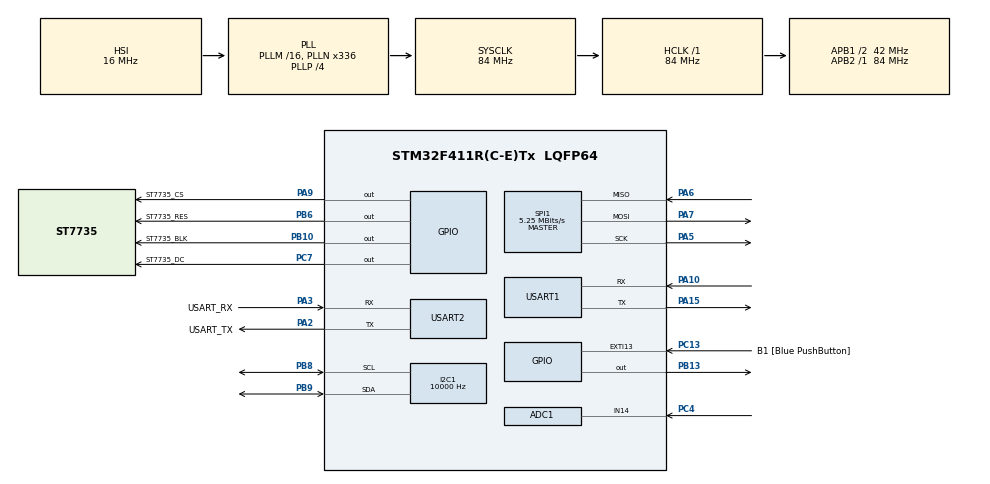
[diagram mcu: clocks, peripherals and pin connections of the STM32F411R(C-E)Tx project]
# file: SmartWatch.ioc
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ADC1.Channel-0\#ChannelRegularConversion=ADC_CHANNEL_14
ADC1.NbrOfConversion=1
ADC1.NbrOfConversionFlag=1
ADC1.Rank-0\#ChannelRegularConversion=1
ADC1.SamplingTime-0\#ChannelRegularConversion=ADC_SAMPLETIME_3CYCLES
ADC1.master=1
Dma.Request0=SPI1_TX
Dma.SPI1_TX.0.Direction=DMA_MEMORY_TO_PERIPH
Dma.SPI1_TX.0.FIFOMode=DMA_FIFOMODE_DISABLE
Dma.SPI1_TX.0.Instance=DMA2_Stream2
Dma.SPI1_TX.0.MemDataAlignment=DMA_MDATAALIGN_BYTE
Dma.SPI1_TX.0.MemInc=DMA_MINC_ENABLE
Dma.SPI1_TX.0.Mode=DMA_NORMAL
Dma.SPI1_TX.0.PeriphDataAlignment=DMA_PDATAALIGN_BYTE
Dma.SPI1_TX.0.PeriphInc=DMA_PINC_DISABLE
Dma.SPI1_TX.0.Priority=DMA_PRIORITY_LOW
I2C1.ClockSpeed=10000
Mcu.Family=STM32F4
Mcu.Name=STM32F411R(C-E)Tx
Mcu.Package=LQFP64
NVIC.DMA2_Stream2_IRQn=true\:0\:0\:false\:false\:true\:false\:true\:true
NVIC.PriorityGroup=NVIC_PRIORITYGROUP_0
NVIC.USART1_IRQn=true\:0\:0\:false\:false\:true\:true\:true\:true
NVIC.USART2_IRQn=true\:0\:0\:false\:false\:true\:true\:true\:true
PA10.Mode=Asynchronous
PA10.Signal=USART1_RX
PA15.Mode=Asynchronous
PA15.Signal=USART1_TX
PA2.GPIO_Label=USART_TX
PA2.Mode=Asynchronous
PA2.Signal=USART2_TX
PA3.GPIO_Label=USART_RX
PA3.Mode=Asynchronous
PA3.Signal=USART2_RX
PA5.Mode=Full_Duplex_Master
PA5.Signal=SPI1_SCK
PA6.Mode=Full_Duplex_Master
PA6.Signal=SPI1_MISO
PA7.Mode=Full_Duplex_Master
PA7.Signal=SPI1_MOSI
PA9.GPIO_Label=ST7735_CS
PA9.Signal=GPIO_Output
PB10.GPIO_Label=ST7735_BLK
PB10.Signal=GPIO_Output
PB13.Signal=GPIO_Output
PB6.GPIO_Label=ST7735_RES
PB6.Signal=GPIO_Output
PB8.Mode=I2C
PB8.Signal=I2C1_SCL
PB9.Mode=I2C
PB9.Signal=I2C1_SDA
PC13-ANTI_TAMP.GPIO_Label=B1 [Blue PushButton]
PC13-ANTI_TAMP.GPIO_ModeDefaultEXTI=GPIO_MODE_IT_FALLING
PC13-ANTI_TAMP.Signal=GPXTI13
PC14-OSC32_IN.Mode=LSE-External-Oscillator
PC14-OSC32_IN.Signal=RCC_OSC32_IN
PC15-OSC32_OUT.Mode=LSE-External-Oscillator
PC15-OSC32_OUT.Signal=RCC_OSC32_OUT
PC4.Signal=ADCx_IN14
PC7.GPIO_Label=ST7735_DC
PC7.Signal=GPIO_Output
PH0\ -\ OSC_IN.Mode=HSE-External-Clock-Source
PH0\ -\ OSC_IN.Signal=RCC_OSC_IN
PH1\ -\ OSC_OUT.Mode=HSE-External-Clock-Source
PH1\ -\ OSC_OUT.Signal=RCC_OSC_OUT
ProjectManager.HeapSize=0x200
ProjectManager.StackSize=0x400
ProjectManager.TargetToolchain=STM32CubeIDE
RCC.48MHZClocksFreq_Value=84000000
RCC.AHBFreq_Value=84000000
RCC.APB1CLKDivider=RCC_HCLK_DIV2
RCC.APB1Freq_Value=42000000
RCC.APB1TimFreq_Value=84000000
RCC.APB2Freq_Value=84000000
RCC.APB2TimFreq_Value=84000000
RCC.CortexFreq_Value=84000000
RCC.FLatency-AdvancedSettings=FLASH_LATENCY_2
RCC.HCLKFreq_Value=84000000
RCC.HSE_VALUE=8000000
RCC.HSI_VALUE=16000000
RCC.PLLN=336
RCC.PLLP=RCC_PLLP_DIV4
RCC.SYSCLKFreq_VALUE=84000000
RCC.SYSCLKSource=RCC_SYSCLKSOURCE_PLLCLK
RCC.VCOOutputFreq_Value=336000000
SH.ADCx_IN14.0=ADC1_IN14,IN14
SPI1.BaudRatePrescaler=SPI_BAUDRATEPRESCALER_16
SPI1.CalculateBaudRate=5.25 MBits/s
SPI1.Direction=SPI_DIRECTION_2LINES
SPI1.Mode=SPI_MODE_MASTER
SPI1.VirtualType=VM_MASTER
USART1.VirtualMode=VM_ASYNC
USART2.VirtualMode=VM_ASYNC
board=NUCLEO-F411RE

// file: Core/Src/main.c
/* USER CODE BEGIN Header */
/**
  ******************************************************************************
  * @file           : main.c
  * @brief          : Main program body
  ******************************************************************************
  * @attention
  *
  * Copyright (c) 2024 STMicroelectronics.
  * All rights reserved.
  *
  * This software is licensed under terms that can be found in the LICENSE file
  * in the root directory of this software component.
  * If no LICENSE file comes with this software, it is provided AS-IS.
  *
  ******************************************************************************
  */
/* USER CODE END Header */
#include "main.h"

/* USER CODE BEGIN Includes */
#include "CircularBuffer.h"
#include "st7735.h"
#include "lsm6d3s.h"
#include "dial.h"
#include "PulseData.h"
#include <stdio.h>

/* USER CODE END Includes */

ADC_HandleTypeDef hadc1;

I2C_HandleTypeDef hi2c1;

SPI_HandleTypeDef hspi1;
DMA_HandleTypeDef hdma_spi1_tx;

UART_HandleTypeDef huart1;
UART_HandleTypeDef huart2;

/* USER CODE BEGIN PV */

uint32_t time_on_start;
int pulse = 0;
uint32_t pulse_falling_edge_time;
uint32_t between_pulse_interval;
uint32_t pulse_rising_edge_time;
uint32_t pulse_interval;

uint8_t tmp_char = 'a';
uint8_t tmp_char2 = 'a';

char pc_tx_buff[100] = "";
size_t pc_tx_buff_size = 0;

char esp01_tx_buff[100] = "";
size_t esp01_tx_buff_size = 0;

CircularBuffer esp01_rx_cb;

char user_buff[100] = "";
size_t user_buff_size = 0;

int pcIsSent = 1;
int esp01IsSent = 1;
int pcDataReady = 0;
int esp01DataReady = 0;
/* USER CODE END PV */

void SystemClock_Config(void);
static void MX_GPIO_Init(void);
static void MX_DMA_Init(void);
static void MX_SPI1_Init(void);
static void MX_USART2_UART_Init(void);
static void MX_ADC1_Init(void);
static void MX_USART1_UART_Init(void);
static void MX_I2C1_Init(void);

int main(void)
{

  /* MCU Configuration--------------------------------------------------------*/

  /* Reset of all peripherals, Initializes the Flash interface and the Systick. */
  HAL_Init();

  /* Configure the system clock */
  SystemClock_Config();

  /* Initialize all configured peripherals */
  MX_GPIO_Init();
  MX_DMA_Init();
  MX_SPI1_Init();
  MX_USART2_UART_Init();
  MX_ADC1_Init();
  MX_USART1_UART_Init();
  MX_I2C1_Init();
  /* USER CODE BEGIN 2 */
  //HAL_TIM_PWM_Start(&htim2, TIM_CHANNEL_3);
  /* USER CODE END 2 */

  /* Infinite loop */
  /* USER CODE BEGIN WHILE */

  circ_buffer_init(&esp01_rx_cb);
  ST7735_Init();
  LSM6DS3_Init();
  ST7735_SetRotation(ST7735_LANDSCAPE);
  ST7735_Backlight_On();
  ST7735_FillScreen(ST7735_BLACK);

  uint32_t time = 14 * 3600 + 42 * 60 + 0;
  time_on_start = HAL_GetTick();
  //drawClockDial(time);

  //ST7735_DrawString(ST7735_GetWidth() / 2 - Font_16x26.width / 2 * 5, ST7735_GetHeight() / 2 - Font_16x26.height / 2, "13:42", Font_16x26, ST7735_WHITE, ST7735_BLACK);

  HAL_UART_Receive_IT(&huart2, &tmp_char, 1);
  HAL_UART_Receive_IT(&huart1, &tmp_char2, 1);

  while (1)
  {
	  /*redrawClockHands(time);
	  time++;
	  HAL_Delay(1000 - 63);*/

	  if(pcIsSent == 1 && pcDataReady == 1){
		  pcIsSent = 0;
		  pcDataReady = 0;
		  char str[80];
		  int size = sprintf(str, "\r>>%s ", pc_tx_buff);
		  //HAL_UART_Transmit_IT(&huart2, str, size);
		  ST7735_DrawString(0, 0, str, Font_7x10, ST7735_WHITE, ST7735_BLACK);
	  }
	  if(esp01IsSent == 1 && esp01DataReady == 1){
	  	  	esp01IsSent = 0;
	  	  	esp01DataReady = 0;
	  	  	char str[80];
	  	  	int size = sprintf(str, "%s\r\n", esp01_tx_buff);
	  	  	HAL_UART_Transmit_IT(&huart1, str, size);

	  }
	  char letter[3] = {'X', 'Y', 'Z'};
	  uint16_t color[3] = {ST7735_RED, ST7735_BLUE, ST7735_GREEN};
	  int16_t raw[3];
	  float xyz[3];
	  char str[10];
	  LSM6DS3_AccGetXYZ(xyz);
	  LSM6DS3_AccGetRawXYZ(raw);
	  for (int i = 0; i < 3; ++i) {
		  sprintf(str, "%c: %.3f", letter[i], xyz[i]);
		  ST7735_DrawString(5, 20 + i * Font_11x18.height + i, str, Font_11x18, color[i], ST7735_BLACK);
	  }
	  HAL_UART_Transmit(&huart2, (uint8_t *)raw, 3 * 2, HAL_MAX_DELAY);

	  /*HAL_ADC_Start(&hadc1);
	  HAL_ADC_PollForConversion(&hadc1, HAL_MAX_DELAY);
	  int raw = HAL_ADC_GetValue(&hadc1);
	  drawPulseGraphDot(raw);*/

	  /*char buf[5] = "";
	  sprintf(buf, "%du", raw);
	  ST7735_DrawString(ST7735_GetWidth() / 2 - Font_16x26.width / 2 * 5, ST7735_GetHeight() / 2 - Font_16x26.height / 2,
			  buf, Font_16x26, ST7735_WHITE, ST7735_BLACK);
	  //HAL_Delay(10);*/
	  /*if(raw > 2090){
		  if(pulse == 0){
			  between_pulse_interval = HAL_GetTick() - pulse_falling_edge_time;
			  pulse_rising_edge_time = HAL_GetTick();
		  }

		  pulse = 1;
		  drawHeart();
	  }else{
		  if(pulse == 1){
			  pulse_interval = HAL_GetTick() - pulse_rising_edge_time;
			  pulse_falling_edge_time = HAL_GetTick();
		  }

		  pulse = 0;
		  ST7735_FillRectangle(130, 10, 20, 20, ST7735_BLACK);
	  }

	  if(HAL_GetTick() - time_on_start > 1000)
	  	drawBPM(60000 / ((pulse_interval + between_pulse_interval)));
	  else
	  	drawBPM(255);

	  HAL_Delay(10);*/

    /* USER CODE END WHILE */

  }
}

void SystemClock_Config(void)
{
  RCC_OscInitTypeDef RCC_OscInitStruct = {0};
  RCC_ClkInitTypeDef RCC_ClkInitStruct = {0};

  /** Configure the main internal regulator output voltage
  */
  __HAL_RCC_PWR_CLK_ENABLE();
  __HAL_PWR_VOLTAGESCALING_CONFIG(PWR_REGULATOR_VOLTAGE_SCALE1);

  /** Initializes the RCC Oscillators according to the specified parameters
  * in the RCC_OscInitTypeDef structure.
  */
  RCC_OscInitStruct.OscillatorType = RCC_OSCILLATORTYPE_HSI;
  RCC_OscInitStruct.HSIState = RCC_HSI_ON;
  RCC_OscInitStruct.HSICalibrationValue = RCC_HSICALIBRATION_DEFAULT;
  RCC_OscInitStruct.PLL.PLLState = RCC_PLL_ON;
  RCC_OscInitStruct.PLL.PLLSource = RCC_PLLSOURCE_HSI;
  RCC_OscInitStruct.PLL.PLLM = 16;
  RCC_OscInitStruct.PLL.PLLN = 336;
  RCC_OscInitStruct.PLL.PLLP = RCC_PLLP_DIV4;
  RCC_OscInitStruct.PLL.PLLQ = 4;
  if (HAL_RCC_OscConfig(&RCC_OscInitStruct) != HAL_OK)
  {
    Error_Handler();
  }

  /** Initializes the CPU, AHB and APB buses clocks
  */
  RCC_ClkInitStruct.ClockType = RCC_CLOCKTYPE_HCLK|RCC_CLOCKTYPE_SYSCLK
                              |RCC_CLOCKTYPE_PCLK1|RCC_CLOCKTYPE_PCLK2;
  RCC_ClkInitStruct.SYSCLKSource = RCC_SYSCLKSOURCE_PLLCLK;
  RCC_ClkInitStruct.AHBCLKDivider = RCC_SYSCLK_DIV1;
  RCC_ClkInitStruct.APB1CLKDivider = RCC_HCLK_DIV2;
  RCC_ClkInitStruct.APB2CLKDivider = RCC_HCLK_DIV1;

  if (HAL_RCC_ClockConfig(&RCC_ClkInitStruct, FLASH_LATENCY_2) != HAL_OK)
  {
    Error_Handler();
  }
}

static void MX_ADC1_Init(void)
{

  ADC_ChannelConfTypeDef sConfig = {0};

  /** Configure the global features of the ADC (Clock, Resolution, Data Alignment and number of conversion)
  */
  hadc1.Instance = ADC1;
  hadc1.Init.ClockPrescaler = ADC_CLOCK_SYNC_PCLK_DIV4;
  hadc1.Init.Resolution = ADC_RESOLUTION_12B;
  hadc1.Init.ScanConvMode = DISABLE;
  hadc1.Init.ContinuousConvMode = DISABLE;
  hadc1.Init.DiscontinuousConvMode = DISABLE;
  hadc1.Init.ExternalTrigConvEdge = ADC_EXTERNALTRIGCONVEDGE_NONE;
  hadc1.Init.ExternalTrigConv = ADC_SOFTWARE_START;
  hadc1.Init.DataAlign = ADC_DATAALIGN_RIGHT;
  hadc1.Init.NbrOfConversion = 1;
  hadc1.Init.DMAContinuousRequests = DISABLE;
  hadc1.Init.EOCSelection = ADC_EOC_SINGLE_CONV;
  if (HAL_ADC_Init(&hadc1) != HAL_OK)
  {
    Error_Handler();
  }

  /** Configure for the selected ADC regular channel its corresponding rank in the sequencer and its sample time.
  */
  sConfig.Channel = ADC_CHANNEL_14;
  sConfig.Rank = 1;
  sConfig.SamplingTime = ADC_SAMPLETIME_3CYCLES;
  if (HAL_ADC_ConfigChannel(&hadc1, &sConfig) != HAL_OK)
  {
    Error_Handler();
  }

}

static void MX_I2C1_Init(void)
{

  hi2c1.Instance = I2C1;
  hi2c1.Init.ClockSpeed = 10000;
  hi2c1.Init.DutyCycle = I2C_DUTYCYCLE_2;
  hi2c1.Init.OwnAddress1 = 0;
  hi2c1.Init.AddressingMode = I2C_ADDRESSINGMODE_7BIT;
  hi2c1.Init.DualAddressMode = I2C_DUALADDRESS_DISABLE;
  hi2c1.Init.OwnAddress2 = 0;
  hi2c1.Init.GeneralCallMode = I2C_GENERALCALL_DISABLE;
  hi2c1.Init.NoStretchMode = I2C_NOSTRETCH_DISABLE;
  if (HAL_I2C_Init(&hi2c1) != HAL_OK)
  {
    Error_Handler();
  }

}

static void MX_SPI1_Init(void)
{

  /* SPI1 parameter configuration*/
  hspi1.Instance = SPI1;
  hspi1.Init.Mode = SPI_MODE_MASTER;
  hspi1.Init.Direction = SPI_DIRECTION_2LINES;
  hspi1.Init.DataSize = SPI_DATASIZE_8BIT;
  hspi1.Init.CLKPolarity = SPI_POLARITY_LOW;
  hspi1.Init.CLKPhase = SPI_PHASE_1EDGE;
  hspi1.Init.NSS = SPI_NSS_SOFT;
  hspi1.Init.BaudRatePrescaler = SPI_BAUDRATEPRESCALER_16;
  hspi1.Init.FirstBit = SPI_FIRSTBIT_MSB;
  hspi1.Init.TIMode = SPI_TIMODE_DISABLE;
  hspi1.Init.CRCCalculation = SPI_CRCCALCULATION_DISABLE;
  hspi1.Init.CRCPolynomial = 10;
  if (HAL_SPI_Init(&hspi1) != HAL_OK)
  {
    Error_Handler();
  }

}

static void MX_USART1_UART_Init(void)
{

  huart1.Instance = USART1;
  huart1.Init.BaudRate = 115200;
  huart1.Init.WordLength = UART_WORDLENGTH_8B;
  huart1.Init.StopBits = UART_STOPBITS_1;
  huart1.Init.Parity = UART_PARITY_NONE;
  huart1.Init.Mode = UART_MODE_TX_RX;
  huart1.Init.HwFlowCtl = UART_HWCONTROL_NONE;
  huart1.Init.OverSampling = UART_OVERSAMPLING_16;
  if (HAL_UART_Init(&huart1) != HAL_OK)
  {
    Error_Handler();
  }

}

static void MX_USART2_UART_Init(void)
{

  huart2.Instance = USART2;
  huart2.Init.BaudRate = 115200;
  huart2.Init.WordLength = UART_WORDLENGTH_8B;
  huart2.Init.StopBits = UART_STOPBITS_1;
  huart2.Init.Parity = UART_PARITY_NONE;
  huart2.Init.Mode = UART_MODE_TX_RX;
  huart2.Init.HwFlowCtl = UART_HWCONTROL_NONE;
  huart2.Init.OverSampling = UART_OVERSAMPLING_16;
  if (HAL_UART_Init(&huart2) != HAL_OK)
  {
    Error_Handler();
  }

}

static void MX_DMA_Init(void)
{

  /* DMA controller clock enable */
  __HAL_RCC_DMA2_CLK_ENABLE();

  /* DMA interrupt init */
  /* DMA2_Stream2_IRQn interrupt configuration */
  HAL_NVIC_SetPriority(DMA2_Stream2_IRQn, 0, 0);
  HAL_NVIC_EnableIRQ(DMA2_Stream2_IRQn);

}

static void MX_GPIO_Init(void)
{
  GPIO_InitTypeDef GPIO_InitStruct = {0};

  /* GPIO Ports Clock Enable */
  __HAL_RCC_GPIOC_CLK_ENABLE();
  __HAL_RCC_GPIOH_CLK_ENABLE();
  __HAL_RCC_GPIOA_CLK_ENABLE();
  __HAL_RCC_GPIOB_CLK_ENABLE();

  /*Configure GPIO pin Output Level */
  HAL_GPIO_WritePin(GPIOB, ST7735_BLK_Pin|GPIO_PIN_13|ST7735_RES_Pin, GPIO_PIN_RESET);

  /*Configure GPIO pin Output Level */
  HAL_GPIO_WritePin(ST7735_DC_GPIO_Port, ST7735_DC_Pin, GPIO_PIN_RESET);

  /*Configure GPIO pin Output Level */
  HAL_GPIO_WritePin(ST7735_CS_GPIO_Port, ST7735_CS_Pin, GPIO_PIN_RESET);

  /*Configure GPIO pin : B1_Pin */
  GPIO_InitStruct.Pin = B1_Pin;
  GPIO_InitStruct.Mode = GPIO_MODE_IT_FALLING;
  GPIO_InitStruct.Pull = GPIO_NOPULL;
  HAL_GPIO_Init(B1_GPIO_Port, &GPIO_InitStruct);

  /*Configure GPIO pins : ST7735_BLK_Pin PB13 ST7735_RES_Pin */
  GPIO_InitStruct.Pin = ST7735_BLK_Pin|GPIO_PIN_13|ST7735_RES_Pin;
  GPIO_InitStruct.Mode = GPIO_MODE_OUTPUT_PP;
  GPIO_InitStruct.Pull = GPIO_NOPULL;
  GPIO_InitStruct.Speed = GPIO_SPEED_FREQ_LOW;
  HAL_GPIO_Init(GPIOB, &GPIO_InitStruct);

  /*Configure GPIO pin : ST7735_DC_Pin */
  GPIO_InitStruct.Pin = ST7735_DC_Pin;
  GPIO_InitStruct.Mode = GPIO_MODE_OUTPUT_PP;
  GPIO_InitStruct.Pull = GPIO_NOPULL;
  GPIO_InitStruct.Speed = GPIO_SPEED_FREQ_LOW;
  HAL_GPIO_Init(ST7735_DC_GPIO_Port, &GPIO_InitStruct);

  /*Configure GPIO pin : ST7735_CS_Pin */
  GPIO_InitStruct.Pin = ST7735_CS_Pin;
  GPIO_InitStruct.Mode = GPIO_MODE_OUTPUT_PP;
  GPIO_InitStruct.Pull = GPIO_NOPULL;
  GPIO_InitStruct.Speed = GPIO_SPEED_FREQ_LOW;
  HAL_GPIO_Init(ST7735_CS_GPIO_Port, &GPIO_InitStruct);

}

/* USER CODE BEGIN 4 */

void PC_UART_RxCpltCallback(UART_HandleTypeDef *huart){
	if(tmp_char == 127){
		if(user_buff_size > 0){
			user_buff_size--;
			user_buff[user_buff_size] = '\0';
			strcpy(pc_tx_buff, user_buff);
			pcDataReady = 1;
		}
	}
	else if(tmp_char == '\r')
	{
		strcpy(esp01_tx_buff, user_buff);
		user_buff_size = 0;
		user_buff[0] = '\0';
		esp01DataReady = 1;
	}
	else
	{
		user_buff[user_buff_size] = tmp_char;
		user_buff_size++;
		user_buff[user_buff_size] = '\0';
		strcpy(pc_tx_buff, user_buff);
		pcDataReady = 1;
	}
	HAL_UART_Receive_IT(&huart2, &tmp_char, 1);

}

void ESP01_UART_RxCpltCallback(UART_HandleTypeDef *huart){
	if(tmp_char2 == '\n'){
		circ_buffer_put(&esp01_rx_cb, '\n');

		/*do
		{
			circ_buffer_get(&esp01_rx_cb, &data);
			pc_tx_buff[pc_tx_buff_size] = data;
			pc_tx_buff_size++;
		}
		while(data != '\n');*/
		int l;
		if(esp01_rx_cb.head > esp01_rx_cb.tail){
			l = esp01_rx_cb.head - esp01_rx_cb.tail;
		}else{
			l = CIRC_BUFFER_SIZE - esp01_rx_cb.tail + esp01_rx_cb.head;
		}
		for (int i = 0; i < l; ++i) {
			uint8_t data = '\0';
			circ_buffer_get(&esp01_rx_cb, &data);
			pc_tx_buff[pc_tx_buff_size] = data;
			pc_tx_buff_size++;
		}
		pcDataReady = 1;

	}else{
		circ_buffer_put(&esp01_rx_cb, tmp_char2);
	}

	HAL_UART_Receive_IT(&huart1, &tmp_char2, 1);
}

void HAL_UART_RxCpltCallback(UART_HandleTypeDef *huart){
	if(huart->Instance == USART2)
		PC_UART_RxCpltCallback(huart);
	if(huart->Instance == USART1)
		ESP01_UART_RxCpltCallback(huart);
}

void ESP01_UART_TxCpltCallback(UART_HandleTypeDef *huart){
	esp01IsSent = 1;
	esp01DataReady = 0;
	esp01_tx_buff[0] = '\0';
	esp01_tx_buff_size = 0;
}

void PC_UART_TxCpltCallback(UART_HandleTypeDef *huart){
	pcIsSent = 1;
	pcDataReady = 0;
	pc_tx_buff[0] = '\0';
	pc_tx_buff_size = 0;
}

void HAL_UART_TxCpltCallback(UART_HandleTypeDef *huart){
	if(huart->Instance == USART2)
			PC_UART_TxCpltCallback(huart);
	if(huart->Instance == USART1)
			ESP01_UART_TxCpltCallback(huart);
}
/* USER CODE END 4 */

void Error_Handler(void)
{
  __disable_irq();
  while (1)
  {
  }
}
